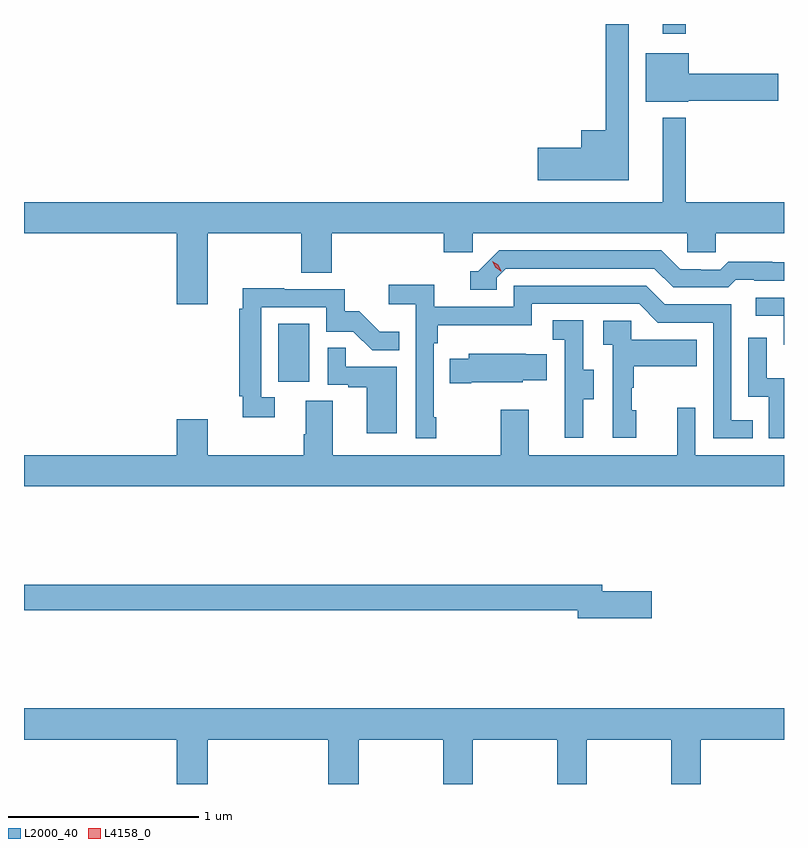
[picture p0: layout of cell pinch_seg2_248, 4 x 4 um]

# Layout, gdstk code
import gdstk
lib = gdstk.Library(unit=1e-6, precision=1e-09)
def R(c, l, rs):  # rectangles x0, y0, x1, y1
    for r in rs: c.add(gdstk.rectangle(r[:2], r[2:], *l))
def P(c, l, *ps):  # polygons
    for p in ps: c.add(gdstk.Polygon(p, *l))
L2000_40 = (2000, 40)
L4158_0 = (4158, 0)

pinch_seg2_248 = lib.new_cell('pinch_seg2_248')
R(pinch_seg2_248, L2000_40, [(944.762,652.182,944.926,652.489), (946.787,654.015,946.909,654.066)])
P(pinch_seg2_248, L2000_40, [(946.609,654.066),(946.488,654.066),(946.488,653.506),(946.358,653.506),(946.358,653.414),(946.128,653.414),(946.128,653.243),(946.609,653.243)],
  [(946.92,653.663),(947.395,653.663),(947.395,653.805),(946.924,653.805),(946.924,653.911),(946.697,653.911),(946.697,653.657),(946.92,653.657)],
  [(944.392,652.964),(944.884,652.964),(944.884,652.756),(945.044,652.756),(945.044,652.964),(945.635,652.964),(945.635,652.866),(945.786,652.866),(945.786,652.964),(946.917,652.964),(946.917,652.866),(947.067,652.866),(947.067,652.964),(947.425,652.964),(947.425,653.128),(946.909,653.128),(946.909,653.572),(946.787,653.572),(946.787,653.128),(943.425,653.128),(943.425,652.964),(944.228,652.964),(944.228,652.59),(944.392,652.59)],
  [(945.912,652.731),(945.96,652.779),(946.743,652.779),(946.842,652.68),(947.131,652.68),(947.17,652.719),(947.269,652.719),(947.269,652.716),(947.425,652.716),(947.425,652.813),(947.364,652.813),(947.364,652.816),(947.131,652.816),(947.089,652.773),(946.986,652.773),(946.986,652.776),(946.879,652.776),(946.78,652.875),(945.927,652.875),(945.816,652.764),(945.773,652.764),(945.773,652.668),(945.912,652.668)],
  [(945.595,651.997),(945.582,651.997),(945.582,652.385),(945.602,652.385),(945.602,652.481),(946.098,652.481),(946.098,652.593),(946.662,652.593),(946.761,652.494),(947.052,652.494),(947.052,651.885),(947.261,651.885),(947.261,651.981),(947.148,651.981),(947.148,652.59),(946.798,652.59),(946.699,652.689),(946.002,652.689),(946.002,652.578),(945.584,652.578),(945.584,652.694),(945.345,652.694),(945.345,652.592),(945.486,652.592),(945.486,651.885),(945.595,651.885)],
  [(944.746,652.101),(944.673,652.101),(944.673,652.575),(945.015,652.575),(945.015,652.446),(945.159,652.446),(945.257,652.348),(945.401,652.348),(945.401,652.447),(945.297,652.447),(945.19,652.554),(945.114,652.554),(945.114,652.671),(944.795,652.671),(944.795,652.676),(944.576,652.676),(944.576,652.568),(944.557,652.568),(944.557,652.108),(944.576,652.108),(944.576,651.996),(944.746,651.996)],
  [(947.425,652.626),(947.277,652.626),(947.277,652.53),(947.424,652.53),(947.424,652.377),(947.425,652.377)],
  [(946.369,652.09),(946.423,652.09),(946.423,652.245),(946.368,652.245),(946.368,652.508),(946.209,652.508),(946.209,652.405),(946.272,652.405),(946.272,652.101),(946.271,652.101),(946.271,651.888),(946.369,651.888)],
  [(946.648,652.032),(946.623,652.032),(946.623,652.151),(946.633,652.151),(946.633,652.265),(946.967,652.265),(946.967,652.405),(946.62,652.405),(946.62,652.503),(946.473,652.503),(946.473,652.379),(946.524,652.379),(946.524,651.888),(946.648,651.888)],
  [(947.425,652.202),(947.334,652.202),(947.334,652.414),(947.238,652.414),(947.238,652.104),(947.346,652.104),(947.346,651.885),(947.425,651.885)],
  [(945.388,652.263),(945.119,652.263),(945.119,652.361),(945.024,652.361),(945.024,652.167),(945.131,652.167),(945.131,652.155),(945.23,652.155),(945.23,651.912),(945.388,651.912)],
  [(945.778,652.181),(946.05,652.181),(946.05,652.19),(946.175,652.19),(946.175,652.327),(946.067,652.327),(946.067,652.33),(945.765,652.33),(945.765,652.303),(945.667,652.303),(945.667,652.174),(945.778,652.174)],
  [(947.425,651.796),(946.959,651.796),(946.959,652.045),(946.862,652.045),(946.862,651.796),(946.081,651.796),(946.081,652.036),(945.934,652.036),(945.934,651.796),(945.049,651.796),(945.049,652.082),(944.909,652.082),(944.909,651.908),(944.897,651.908),(944.897,651.796),(944.392,651.796),(944.392,651.985),(944.228,651.985),(944.228,651.796),(943.425,651.796),(943.425,651.632),(947.425,651.632)],
  [(946.729,651.08),(946.468,651.08),(946.468,651.116),(943.425,651.116),(943.425,650.98),(946.34,650.98),(946.34,650.938),(946.729,650.938)],
  [(944.392,650.3),(945.026,650.3),(945.026,650.066),(945.186,650.066),(945.186,650.3),(945.631,650.3),(945.631,650.066),(945.786,650.066),(945.786,650.3),(946.231,650.3),(946.231,650.066),(946.386,650.066),(946.386,650.3),(946.831,650.3),(946.831,650.066),(946.986,650.066),(946.986,650.3),(947.425,650.3),(947.425,650.464),(943.425,650.464),(943.425,650.3),(944.228,650.3),(944.228,650.066),(944.392,650.066)])
P(pinch_seg2_248, L4158_0, [(945.935,652.765),(945.905,652.785),(945.89,652.818),(945.89,652.818),(945.89,652.818),(945.92,652.798),(945.936,652.765),(945.936,652.765)])

lib.write_gds('pinch_seg2_248.gds')
